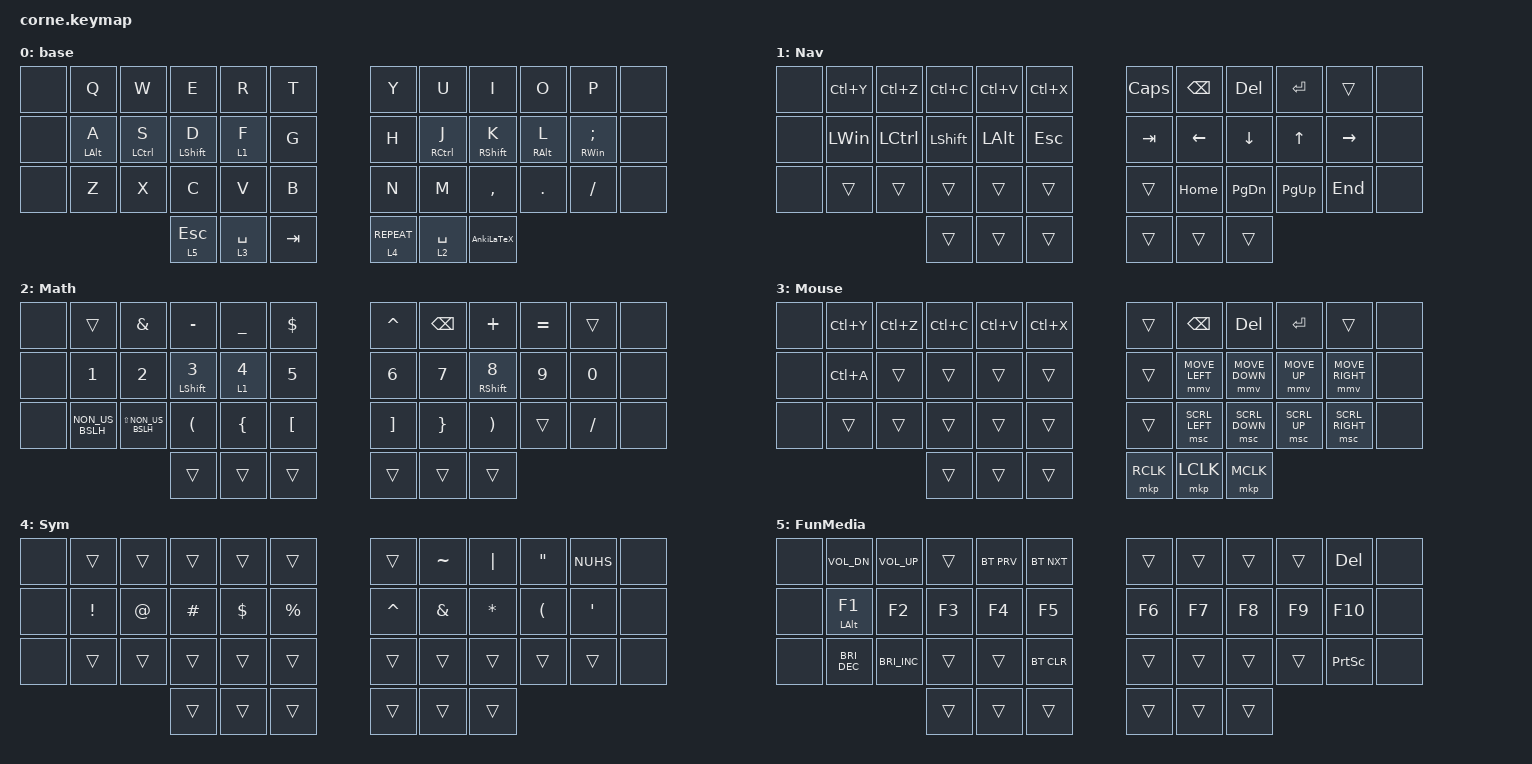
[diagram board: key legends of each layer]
/*
 * Copyright (c) 2020 The ZMK Contributors
 *
 * SPDX-License-Identifier: MIT
 */

#include <behaviors.dtsi>
#include <dt-bindings/zmk/bt.h>
#include <dt-bindings/zmk/keys.h>
#include <dt-bindings/zmk/pointing.h>

#define ZMK_POINTING_DEFAULT_MOVE_VAL 1750  // default: 600
#define ZMK_POINTING_DEFAULT_SCRL_VAL 25    // default: 10

&mmv {
    acceleration-exponent = <1>;
    time-to-max-speed-ms = <150>;
};

/ {
    behaviors {
        hml: homewrow_mods_left {
            compatible = "zmk,behavior-hold-tap";
            label = "HOMEROW_MODS_LEFT_HAND";
            bindings = <&kp>, <&kp>;

            #binding-cells = <2>;
            tapping-term-ms = <175>;
            hold-trigger-key-positions = <6 7 19 18 6 7 8 9 10 11 18 19 20 21 22 23 30 31 32 33 34 35 39 40 41>;
            flavor = "tap-preferred";
        };

        hmr: homewrow_mods_right {
            compatible = "zmk,behavior-hold-tap";
            label = "HOMEROW_MODS_RIGHT_HAND";
            bindings = <&kp>, <&kp>;

            #binding-cells = <2>;
            tapping-term-ms = <175>;
            hold-trigger-key-positions = <0 1 2 4 5 12 13 14 15 16 17 24 25 26 27 28 29 36 37 38 3>;
            flavor = "tap-preferred";
        };

        slowhm: slowhm {
            compatible = "zmk,behavior-hold-tap";
            label = "SLOWHM";
            bindings = <&kp>, <&kp>;

            #binding-cells = <2>;
            tapping-term-ms = <230>;
            hold-trigger-key-positions = <10 11 22 23 34 35 0 1 12 13 24 25 2 3 14 15 26 27 8 9 20 21 32 33>;
            flavor = "tap-preferred";
            quick-tap-ms = <160>;
        };
    };

    macros {
        AnkiLaTeX: AnkiLaTeX {
            compatible = "zmk,behavior-macro";
            #binding-cells = <0>;
            bindings = <&kp LC(M) &kp M>;
            label = "ANKILATEX";
        };
    };

    keymap {
        compatible = "zmk,keymap";

        base {
            // -----------------------------------------------------------------------------------------
            // |  TAB |  Q  |  W  |  E  |  R  |  T  |   |  Y  |  U   |  I  |  O  |  P  | BSPC |
            // | CTRL |  A  |  S  |  D  |  F  |  G  |   |  H  |  J   |  K  |  L  |  ;  |  '   |
            // | SHFT |  Z  |  X  |  C  |  V  |  B  |   |  N  |  M   |  ,  |  .  |  /  | ESC  |
            //                    | GUI | LWR | SPC |   | ENT | RSE  | ALT |

            bindings = <
&none  &kp Q               &kp W                   &kp E              &kp R        &kp T      &kp Y           &kp U                 &kp I               &kp O                &kp P                   &none
&none  &slowhm LEFT_ALT A  &slowhm LEFT_CONTROL S  &hml LEFT_SHIFT D  &lt 1 F      &kp G      &kp H           &hmr RIGHT_CONTROL J  &hmr RIGHT_SHIFT K  &slowhm RIGHT_ALT L  &slowhm RWIN SEMICOLON  &none
&none  &kp Z               &kp X                   &kp C              &kp V        &kp B      &kp N           &kp M                 &kp COMMA           &kp DOT              &kp FSLH                &none
                                                   &lt 5 ESCAPE       &lt 3 SPACE  &kp TAB    &lt 4 C_REPEAT  &lt 2 SPACE           &AnkiLaTeX
            >;
        };

        Nav {
            // -----------------------------------------------------------------------------------------
            // |  TAB |  1  |  2  |  3  |  4  |  5  |   |  6  |  7  |  8  |  9  |  0  | BSPC |
            // | BTCLR| BT1 | BT2 | BT3 | BT4 | BT5 |   | LFT | DWN |  UP | RGT |     |      |
            // | SHFT |     |     |     |     |     |   |     |     |     |     |     |      |
            //                    | GUI |     | SPC |   | ENT |     | ALT |

            bindings = <
&none  &kp LC(Y)     &kp LC(Z)  &kp LC(C)       &kp LC(V)     &kp LC(X)     &kp CAPSLOCK  &kp BACKSPACE  &kp DELETE     &kp RET       &trans     &none
&none  &kp LEFT_WIN  &kp LCTRL  &kp LEFT_SHIFT  &kp LEFT_ALT  &kp ESCAPE    &kp TAB       &kp LEFT       &kp DOWN       &kp UP_ARROW  &kp RIGHT  &none
&none  &trans        &trans     &trans          &trans        &trans        &trans        &kp HOME       &kp PAGE_DOWN  &kp PG_UP     &kp END    &none
                                &trans          &trans        &trans        &trans        &trans         &trans
            >;
        };

        Math {
            bindings = <
&none  &trans           &kp AMPERSAND        &kp MINUS              &kp UNDER       &kp DOLLAR    &kp CARET     &kp BACKSPACE    &kp PLUS                &kp EQUAL  &trans    &none
&none  &kp NUMBER_1     &kp N2               &slowhm LEFT_SHIFT N3  &lt 1 N4        &kp N5        &kp NUMBER_6  &kp N7           &slowhm RIGHT_SHIFT N8  &kp N9     &kp N0    &none
&none  &kp NON_US_BSLH  &kp LS(NON_US_BSLH)  &kp LEFT_PARENTHESIS   &kp LEFT_BRACE  &kp LBKT      &kp RBKT      &kp RIGHT_BRACE  &kp RIGHT_PARENTHESIS   &trans     &kp FSLH  &none
                                             &trans                 &trans          &trans        &trans        &trans           &trans
            >;
        };

        Mouse {
            bindings = <
&none  &kp LC(Y)  &kp LC(Z)  &kp LC(C)  &kp LC(V)  &kp LC(X)    &trans     &kp BACKSPACE   &kp DELETE      &kp RET       &trans           &none
&none  &kp LC(A)  &trans     &trans     &trans     &trans       &trans     &mmv MOVE_LEFT  &mmv MOVE_DOWN  &mmv MOVE_UP  &mmv MOVE_RIGHT  &none
&none  &trans     &trans     &trans     &trans     &trans       &trans     &msc SCRL_LEFT  &msc SCRL_DOWN  &msc SCRL_UP  &msc SCRL_RIGHT  &none
                             &trans     &trans     &trans       &mkp RCLK  &mkp LCLK       &mkp MCLK
            >;
        };

        Sym {
            bindings = <
&none  &trans    &trans  &trans    &trans      &trans         &trans     &kp TILDE  &kp PIPE   &kp DOUBLE_QUOTES     &kp NUHS  &none
&none  &kp EXCL  &kp AT  &kp HASH  &kp DOLLAR  &kp PERCENT    &kp CARET  &kp AMPS   &kp ASTRK  &kp LEFT_PARENTHESIS  &kp APOS  &none
&none  &trans    &trans  &trans    &trans      &trans         &trans     &trans     &trans     &trans                &trans    &none
                         &trans    &trans      &trans         &trans     &trans     &trans
            >;
        };

        FunMedia {
            bindings = <
&none  &kp C_VOL_DN          &kp C_VOL_UP          &trans  &bt BT_PRV  &bt BT_NXT    &trans  &trans  &trans  &trans  &kp DEL          &none
&none  &slowhm LEFT_ALT F1   &kp F2                &kp F3  &kp F4      &kp F5        &kp F6  &kp F7  &kp F8  &kp F9  &kp F10          &none
&none  &kp C_BRIGHTNESS_DEC  &kp C_BRIGHTNESS_INC  &trans  &trans      &bt BT_CLR    &trans  &trans  &trans  &trans  &kp PRINTSCREEN  &none
                                                   &trans  &trans      &trans        &trans  &trans  &trans
            >;
        };
    };
};
